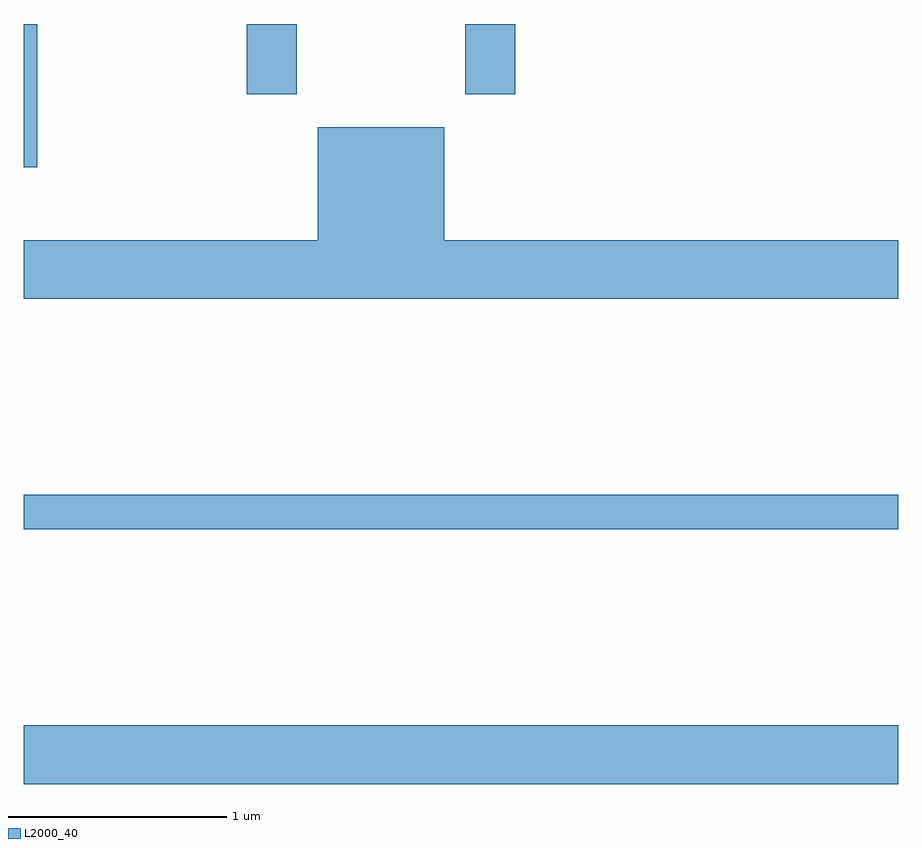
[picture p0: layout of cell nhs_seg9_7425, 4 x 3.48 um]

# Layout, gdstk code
import gdstk
lib = gdstk.Library(unit=1e-6, precision=1e-09)
def R(c, l, rs):  # rectangles x0, y0, x1, y1
    for r in rs: c.add(gdstk.rectangle(r[:2], r[2:], *l))
def P(c, l, *ps):  # polygons
    for p in ps: c.add(gdstk.Polygon(p, *l))
L2000_40 = (2000, 40)

nhs_seg9_7425 = lib.new_cell('nhs_seg9_7425')
R(nhs_seg9_7425, L2000_40, [(405.611,1962.956,409.611,1963.224), (405.611,1964.121,409.611,1964.279), (405.611,1965.776,405.674,1966.432), (406.631,1966.111,406.859,1966.432), (407.631,1966.111,407.859,1966.432)])
P(nhs_seg9_7425, L2000_40, [(409.611,1965.444),(407.534,1965.444),(407.534,1965.959),(406.956,1965.959),(406.956,1965.444),(405.611,1965.444),(405.611,1965.176),(409.611,1965.176)])

lib.write_gds('nhs_seg9_7425.gds')
